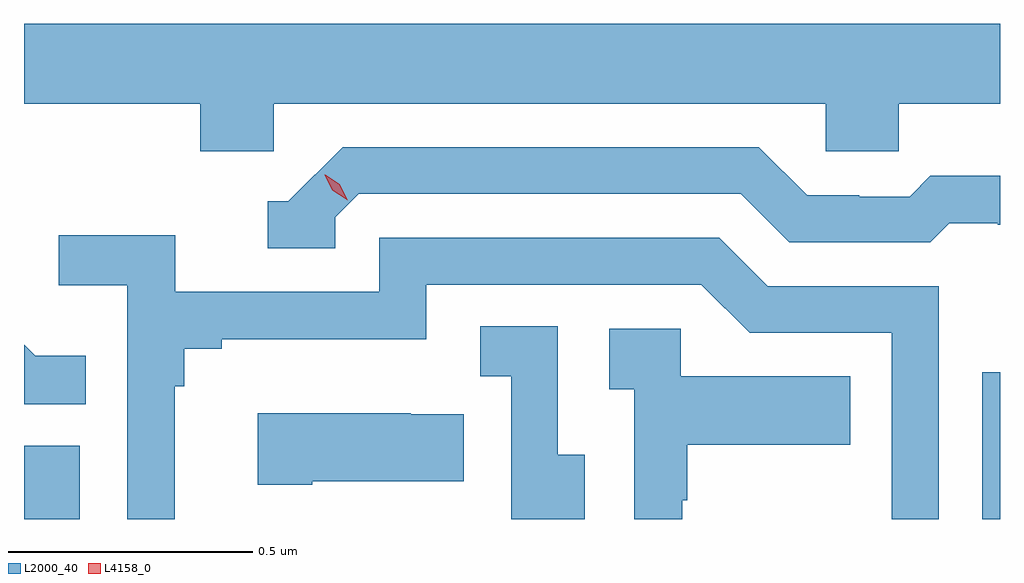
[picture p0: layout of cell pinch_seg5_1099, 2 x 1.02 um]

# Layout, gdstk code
import gdstk
lib = gdstk.Library(unit=1e-6, precision=1e-09)
def R(c, l, rs):  # rectangles x0, y0, x1, y1
    for r in rs: c.add(gdstk.rectangle(r[:2], r[2:], *l))
def P(c, l, *ps):  # polygons
    for p in ps: c.add(gdstk.Polygon(p, *l))
L2000_40 = (2000, 40)
L4158_0 = (4158, 0)

pinch_seg5_1099 = lib.new_cell('pinch_seg5_1099')
R(pinch_seg5_1099, L2000_40, [(830.722,867.896,830.836,868.047), (832.686,867.896,832.722,868.198)])
P(pinch_seg5_1099, L2000_40, [(831.234,868.748),(832.365,868.748),(832.365,868.65),(832.515,868.65),(832.515,868.748),(832.722,868.748),(832.722,868.912),(830.722,868.912),(830.722,868.748),(831.083,868.748),(831.083,868.65),(831.234,868.65)],
  [(831.36,868.515),(831.408,868.563),(832.191,868.563),(832.29,868.464),(832.579,868.464),(832.618,868.503),(832.717,868.503),(832.717,868.5),(832.722,868.5),(832.722,868.6),(832.579,868.6),(832.537,868.557),(832.434,868.557),(832.434,868.56),(832.327,868.56),(832.228,868.659),(831.375,868.659),(831.264,868.548),(831.221,868.548),(831.221,868.452),(831.36,868.452)],
  [(831.031,868.169),(831.05,868.169),(831.05,868.246),(831.127,868.246),(831.127,868.265),(831.546,868.265),(831.546,868.377),(832.11,868.377),(832.209,868.278),(832.5,868.278),(832.5,867.896),(832.596,867.896),(832.596,868.374),(832.246,868.374),(832.147,868.473),(831.45,868.473),(831.45,868.362),(831.032,868.362),(831.032,868.478),(830.793,868.478),(830.793,868.376),(830.934,868.376),(830.934,867.896),(831.031,867.896)],
  [(831.871,868.029),(831.816,868.029),(831.816,868.292),(831.657,868.292),(831.657,868.189),(831.72,868.189),(831.72,867.896),(831.871,867.896)],
  [(832.071,867.935),(832.081,867.935),(832.081,868.049),(832.415,868.049),(832.415,868.189),(832.068,868.189),(832.068,868.287),(831.921,868.287),(831.921,868.163),(831.972,868.163),(831.972,867.896),(832.071,867.896)],
  [(830.849,868.231),(830.745,868.231),(830.722,868.254),(830.722,868.132),(830.849,868.132)],
  [(831.313,867.974),(831.623,867.974),(831.623,868.111),(831.515,868.111),(831.515,868.114),(831.201,868.114),(831.201,867.967),(831.313,867.967)])
P(pinch_seg5_1099, L4158_0, [(831.385,868.55),(831.354,868.57),(831.338,868.602),(831.338,868.602),(831.339,868.602),(831.369,868.583),(831.385,868.55),(831.385,868.55)])

lib.write_gds('pinch_seg5_1099.gds')
